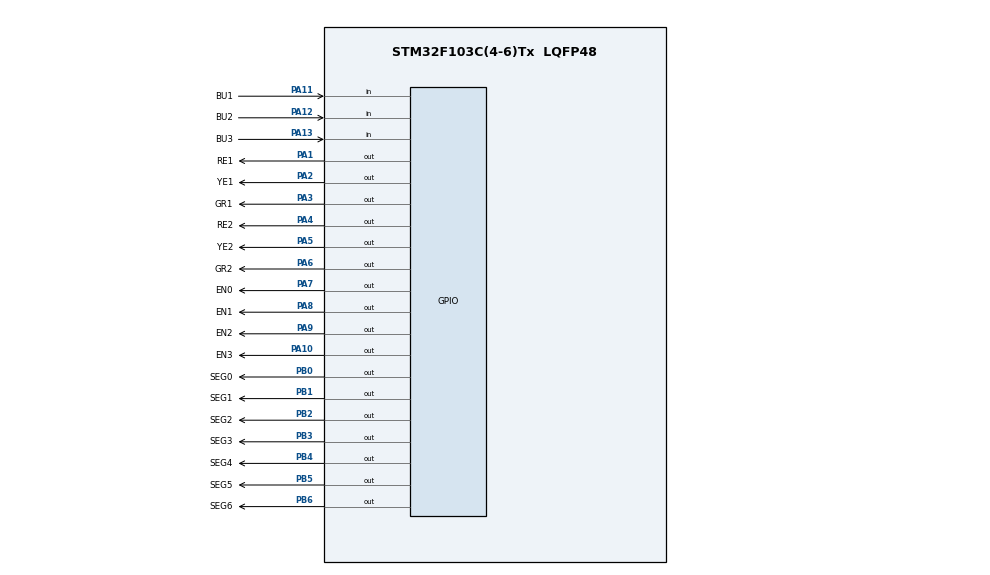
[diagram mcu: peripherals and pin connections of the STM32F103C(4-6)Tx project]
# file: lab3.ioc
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Mcu.Family=STM32F1
Mcu.Name=STM32F103C(4-6)Tx
Mcu.Package=LQFP48
NVIC.PriorityGroup=NVIC_PRIORITYGROUP_4
NVIC.TIM2_IRQn=true\:0\:0\:false\:false\:true\:true\:true
PA1.GPIO_Label=RE1
PA1.Signal=GPIO_Output
PA10.GPIO_Label=EN3
PA10.Signal=GPIO_Output
PA11.GPIO_Label=BU1
PA11.GPIO_PuPd=GPIO_PULLUP
PA11.Signal=GPIO_Input
PA12.GPIO_Label=BU2
PA12.GPIO_PuPd=GPIO_PULLUP
PA12.Signal=GPIO_Input
PA13.GPIO_Label=BU3
PA13.GPIO_PuPd=GPIO_PULLUP
PA13.Signal=GPIO_Input
PA2.GPIO_Label=YE1
PA2.Signal=GPIO_Output
PA3.GPIO_Label=GR1
PA3.Signal=GPIO_Output
PA4.GPIO_Label=RE2
PA4.Signal=GPIO_Output
PA5.GPIO_Label=YE2
PA5.Signal=GPIO_Output
PA6.GPIO_Label=GR2
PA6.Signal=GPIO_Output
PA7.GPIO_Label=EN0
PA7.Signal=GPIO_Output
PA8.GPIO_Label=EN1
PA8.Signal=GPIO_Output
PA9.GPIO_Label=EN2
PA9.Signal=GPIO_Output
PB0.GPIO_Label=SEG0
PB0.Signal=GPIO_Output
PB1.GPIO_Label=SEG1
PB1.Signal=GPIO_Output
PB2.GPIO_Label=SEG2
PB2.Signal=GPIO_Output
PB3.GPIO_Label=SEG3
PB3.Signal=GPIO_Output
PB4.GPIO_Label=SEG4
PB4.Signal=GPIO_Output
PB5.GPIO_Label=SEG5
PB5.Signal=GPIO_Output
PB6.GPIO_Label=SEG6
PB6.Signal=GPIO_Output
ProjectManager.HeapSize=0x200
ProjectManager.StackSize=0x400
ProjectManager.TargetToolchain=STM32CubeIDE
RCC.APB1Freq_Value=8000000
RCC.APB2Freq_Value=8000000
TIM2.CounterMode=TIM_COUNTERMODE_DOWN
TIM2.Period=799
TIM2.Prescaler=99
VP_SYS_VS_ND.Mode=No_Debug
VP_TIM2_VS_ClockSourceINT.Mode=Internal
board=custom

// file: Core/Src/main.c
/* USER CODE BEGIN Header */
/**
  ******************************************************************************
  * @file           : main.c
  * @brief          : Main program body
  ******************************************************************************
  * @attention
  *
  * <h2><center>&copy; Copyright (c) 2023 STMicroelectronics.
  * All rights reserved.</center></h2>
  *
  * This software component is licensed by ST under BSD 3-Clause license,
  * the "License"; You may not use this file except in compliance with the
  * License. You may obtain a copy of the License at:
  *                        opensource.org/licenses/BSD-3-Clause
  *
  ******************************************************************************
  */
/* USER CODE END Header */
#include "main.h"
#include "button1.h"
#include "button2.h"
#include "button3.h"
#include "software_timer.h"
#include <stdint.h>
#include "global.h"
#include "fsm_modify.h"
#include "fsm_normal.h"

TIM_HandleTypeDef htim2;

void SystemClock_Config(void);
static void MX_GPIO_Init(void);
static void MX_TIM2_Init(void);
void display7Seg(int index);

/* USER CODE BEGIN 0 */

uint8_t seg_buffer[4] = {0};
int seg_index = 0;

/* USER CODE END 0 */

int main(void)
{

  /* MCU Configuration--------------------------------------------------------*/

  /* Reset of all peripherals, Initializes the Flash interface and the Systick. */
  HAL_Init();

  /* Configure the system clock */
  SystemClock_Config();

  /* Initialize all configured peripherals */
  MX_GPIO_Init();
  MX_TIM2_Init();
  HAL_TIM_Base_Start_IT(&htim2);
  /* USER CODE BEGIN 2 */

  fsm_status= NORMAL_MODE;
  status = RED_GREEN;
  red_duration = 5;
  yellow_duration = 2;
  green_duration = 3;

  setTimer1(green_duration * 1000);
  setTimerLed(500);
  setTimerSeg(100);
  /* USER CODE END 2 */

  /* Infinite loop */
  while (1)
  {
	  switch (fsm_status){
	  	  case NORMAL_MODE:
	  		  fsm_normal_run();
	  		  if (isButton1Pressed()){
	  			  fsm_status = MODIFY_MODE;
	  			  status = MOD_RED;
	  		  }
	  		  break;

	  	  case MODIFY_MODE:
	  		 fsm_modify_run();

	  }

	  if (timer_seg_flag == 1){
		  setTimerSeg(100);
		  display7Seg(seg_index++);
		  if(seg_index > 3) seg_index = 0;
	  }
  }
}

void SystemClock_Config(void)
{
  RCC_OscInitTypeDef RCC_OscInitStruct = {0};
  RCC_ClkInitTypeDef RCC_ClkInitStruct = {0};

  /** Initializes the RCC Oscillators according to the specified parameters
  * in the RCC_OscInitTypeDef structure.
  */
  RCC_OscInitStruct.OscillatorType = RCC_OSCILLATORTYPE_HSI;
  RCC_OscInitStruct.HSIState = RCC_HSI_ON;
  RCC_OscInitStruct.HSICalibrationValue = RCC_HSICALIBRATION_DEFAULT;
  RCC_OscInitStruct.PLL.PLLState = RCC_PLL_NONE;
  if (HAL_RCC_OscConfig(&RCC_OscInitStruct) != HAL_OK)
  {
    Error_Handler();
  }
  /** Initializes the CPU, AHB and APB buses clocks
  */
  RCC_ClkInitStruct.ClockType = RCC_CLOCKTYPE_HCLK|RCC_CLOCKTYPE_SYSCLK
                              |RCC_CLOCKTYPE_PCLK1|RCC_CLOCKTYPE_PCLK2;
  RCC_ClkInitStruct.SYSCLKSource = RCC_SYSCLKSOURCE_HSI;
  RCC_ClkInitStruct.AHBCLKDivider = RCC_SYSCLK_DIV1;
  RCC_ClkInitStruct.APB1CLKDivider = RCC_HCLK_DIV1;
  RCC_ClkInitStruct.APB2CLKDivider = RCC_HCLK_DIV1;

  if (HAL_RCC_ClockConfig(&RCC_ClkInitStruct, FLASH_LATENCY_0) != HAL_OK)
  {
    Error_Handler();
  }
}

static void MX_TIM2_Init(void)
{

  TIM_ClockConfigTypeDef sClockSourceConfig = {0};
  TIM_MasterConfigTypeDef sMasterConfig = {0};

  htim2.Instance = TIM2;
  htim2.Init.Prescaler = 99;
  htim2.Init.CounterMode = TIM_COUNTERMODE_DOWN;
  htim2.Init.Period = 799;
  htim2.Init.ClockDivision = TIM_CLOCKDIVISION_DIV1;
  htim2.Init.AutoReloadPreload = TIM_AUTORELOAD_PRELOAD_DISABLE;
  if (HAL_TIM_Base_Init(&htim2) != HAL_OK)
  {
    Error_Handler();
  }
  sClockSourceConfig.ClockSource = TIM_CLOCKSOURCE_INTERNAL;
  if (HAL_TIM_ConfigClockSource(&htim2, &sClockSourceConfig) != HAL_OK)
  {
    Error_Handler();
  }
  sMasterConfig.MasterOutputTrigger = TIM_TRGO_RESET;
  sMasterConfig.MasterSlaveMode = TIM_MASTERSLAVEMODE_DISABLE;
  if (HAL_TIMEx_MasterConfigSynchronization(&htim2, &sMasterConfig) != HAL_OK)
  {
    Error_Handler();
  }

}

static void MX_GPIO_Init(void)
{
  GPIO_InitTypeDef GPIO_InitStruct = {0};

  /* GPIO Ports Clock Enable */
  __HAL_RCC_GPIOA_CLK_ENABLE();
  __HAL_RCC_GPIOB_CLK_ENABLE();

  /*Configure GPIO pin Output Level */
  HAL_GPIO_WritePin(GPIOA, RE1_Pin|YE1_Pin|GR1_Pin|RE2_Pin
                          |YE2_Pin|GR2_Pin|EN0_Pin|EN1_Pin
                          |EN2_Pin|EN3_Pin, GPIO_PIN_RESET);

  /*Configure GPIO pin Output Level */
  HAL_GPIO_WritePin(GPIOB, SEG0_Pin|SEG1_Pin|SEG2_Pin|SEG3_Pin
                          |SEG4_Pin|SEG5_Pin|SEG6_Pin, GPIO_PIN_RESET);

  /*Configure GPIO pins : RE1_Pin YE1_Pin GR1_Pin RE2_Pin
                           YE2_Pin GR2_Pin EN0_Pin EN1_Pin
                           EN2_Pin EN3_Pin */
  GPIO_InitStruct.Pin = RE1_Pin|YE1_Pin|GR1_Pin|RE2_Pin
                          |YE2_Pin|GR2_Pin|EN0_Pin|EN1_Pin
                          |EN2_Pin|EN3_Pin;
  GPIO_InitStruct.Mode = GPIO_MODE_OUTPUT_PP;
  GPIO_InitStruct.Pull = GPIO_NOPULL;
  GPIO_InitStruct.Speed = GPIO_SPEED_FREQ_LOW;
  HAL_GPIO_Init(GPIOA, &GPIO_InitStruct);

  /*Configure GPIO pins : SEG0_Pin SEG1_Pin SEG2_Pin SEG3_Pin
                           SEG4_Pin SEG5_Pin SEG6_Pin */
  GPIO_InitStruct.Pin = SEG0_Pin|SEG1_Pin|SEG2_Pin|SEG3_Pin
                          |SEG4_Pin|SEG5_Pin|SEG6_Pin;
  GPIO_InitStruct.Mode = GPIO_MODE_OUTPUT_PP;
  GPIO_InitStruct.Pull = GPIO_NOPULL;
  GPIO_InitStruct.Speed = GPIO_SPEED_FREQ_LOW;
  HAL_GPIO_Init(GPIOB, &GPIO_InitStruct);

  /*Configure GPIO pins : BU1_Pin BU2_Pin BU3_Pin */
  GPIO_InitStruct.Pin = BU1_Pin|BU2_Pin|BU3_Pin;
  GPIO_InitStruct.Mode = GPIO_MODE_INPUT;
  GPIO_InitStruct.Pull = GPIO_PULLUP;
  HAL_GPIO_Init(GPIOA, &GPIO_InitStruct);

}

/* USER CODE BEGIN 4 */
void HAL_TIM_PeriodElapsedCallback(TIM_HandleTypeDef *htim)
{
	getKey1Input();
	getKey2Input();
	getKey3Input();
	timer1Run();
	timerLedRun();
	timerSegRun();

}

void display7Seg(int index){
	if (index == 0) {
		HAL_GPIO_WritePin(EN0_GPIO_Port, EN0_Pin, GPIO_PIN_RESET);
		HAL_GPIO_WritePin(EN1_GPIO_Port, EN1_Pin, GPIO_PIN_SET);
		HAL_GPIO_WritePin(EN2_GPIO_Port, EN2_Pin, GPIO_PIN_SET);
		HAL_GPIO_WritePin(EN3_GPIO_Port, EN3_Pin, GPIO_PIN_SET);
	};

	if (index == 1) {
		HAL_GPIO_WritePin(EN0_GPIO_Port, EN0_Pin, GPIO_PIN_SET);
		HAL_GPIO_WritePin(EN1_GPIO_Port, EN1_Pin, GPIO_PIN_RESET);
		HAL_GPIO_WritePin(EN2_GPIO_Port, EN2_Pin, GPIO_PIN_SET);
		HAL_GPIO_WritePin(EN3_GPIO_Port, EN3_Pin, GPIO_PIN_SET);
	};

	if (index == 2) {
		HAL_GPIO_WritePin(EN0_GPIO_Port, EN0_Pin, GPIO_PIN_SET);
		HAL_GPIO_WritePin(EN1_GPIO_Port, EN1_Pin, GPIO_PIN_SET);
		HAL_GPIO_WritePin(EN2_GPIO_Port, EN2_Pin, GPIO_PIN_RESET);
		HAL_GPIO_WritePin(EN3_GPIO_Port, EN3_Pin, GPIO_PIN_SET);
	};

	if (index == 3) {
		HAL_GPIO_WritePin(EN0_GPIO_Port, EN0_Pin, GPIO_PIN_SET);
		HAL_GPIO_WritePin(EN1_GPIO_Port, EN1_Pin, GPIO_PIN_SET);
		HAL_GPIO_WritePin(EN2_GPIO_Port, EN2_Pin, GPIO_PIN_SET);
		HAL_GPIO_WritePin(EN3_GPIO_Port, EN3_Pin, GPIO_PIN_RESET);
	};

	GPIOB->ODR = seg_buffer[index];
}
/* USER CODE END 4 */

void Error_Handler(void)
{
  __disable_irq();
  while (1)
  {
  }
}

/************************ (C) COPYRIGHT STMicroelectronics *****END OF FILE****/
